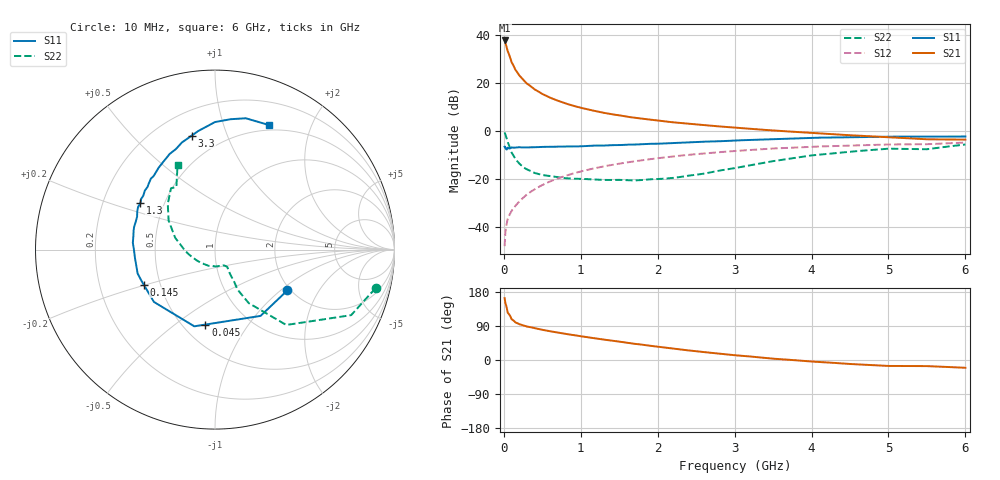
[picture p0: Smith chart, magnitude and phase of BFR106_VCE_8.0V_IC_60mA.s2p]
! Infineon Technologies  Discrete & RF Semiconductors
! BFR106
! VCE =  8.0 V,  IC =  60 mA
! Common Emitter S-Parameters:  Nov 2015
# GHz  S  MA  R  50
!  f  S11  S21  S12  S22
! GHz  MAG  ANG  MAG  ANG  MAG  ANG  MAG  ANG
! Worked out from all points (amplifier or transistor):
!   210 points, 10 MHz to 6 GHz, reference 50 ohm
!   highest |S21| = 37.6 dB at 10 MHz (marker M1)
!   |S21| within 3 dB of that: start of sweep to 37.67 MHz
!   unconditionally stable (mu >= 1): 240.3 MHz to 2.312 GHz
!   at 185 MHz: K = 0.93, MSG = 27.0 dB, |S12| = -30.1 dB
!   at 1.52 GHz: K = 1.05, MAG = 8.6 dB, |S12| = -13.7 dB
!   at 6 GHz: K = 0.98, MSG = 0.6 dB, |S12| = -5.0 dB
!   S11 on the Smith chart (normalised r, x): 10 MHz: 1.92, -1.12; 45 MHz: 0.64, -0.65; 145 MHz: 0.40, -0.20; 1.3 GHz: 0.37, +0.25; 3.3 GHz: 0.35, +0.76; 6 GHz: 0.44, +1.43
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0.01  0.4627 -29.5  76.08 163.3  0.0039 79.9  0.9198 -13.5
0.02  0.4482 -55.5  68.59 150.2  0.0076 70.3  0.842 -25.7
0.045  0.4212 -97.3  48.78 130.6  0.0132 61.0  0.6147 -41.9
0.05  0.4427 -105.1  45.84 124.9  0.0144 60.0  0.5779 -46.6
0.1  0.4481 -139.4  27.03 107.8  0.0211 62.1  0.3518 -57.8
0.145  0.4429 -153.8  19.46 100.5  0.0264 64.0  0.2649 -60.2
0.15  0.4441 -155.4  18.65 99.3  0.027 64.2  0.2553 -60.6
0.2  0.4512 -162.8  14.27 94.6  0.0331 67.9  0.2066 -59.1
0.24  0.4474 -167.8  12.01 91.8  0.0383 69.2  0.1799 -58.8
0.3  0.4481 -172.8  9.584 88.3  0.0467 70.3  0.1561 -58.1
0.4  0.4511 -179.5  7.263 83.9  0.0598 72.0  0.1313 -56.1
0.5  0.4594 175.2  5.828 79.6  0.0734 71.9  0.1189 -54.8
0.6  0.4602 171.0  4.884 75.8  0.0873 71.5  0.113 -55.8
0.8  0.468 164.4  3.698 69.0  0.1141 70.0  0.1022 -59.7
1.02  0.4733 156.5  2.952 62.1  0.1435 67.5  0.0987 -65.6
1.3  0.4891 148.1  2.356 53.8  0.1802 64.0  0.0939 -77.0
2.02  0.5355 129.3  1.608 34.6  0.2686 54.1  0.0983 -120.7
3.1  0.6318 105.3  1.125 11.0  0.3857 38.3  0.1767 177.8
3.3  0.6484 101.5  1.065 7.4  0.4046 35.4  0.2024 169.7
4.1  0.7141 88.6  0.877 -5.2  0.4674 23.7  0.3158 145.2
5.1  0.751 75.6  0.718 -15.8  0.5162 10.8  0.4182 124.9
6  0.7558 66.4  0.65 -20.5  0.5649 1.0  0.5147 113.9
